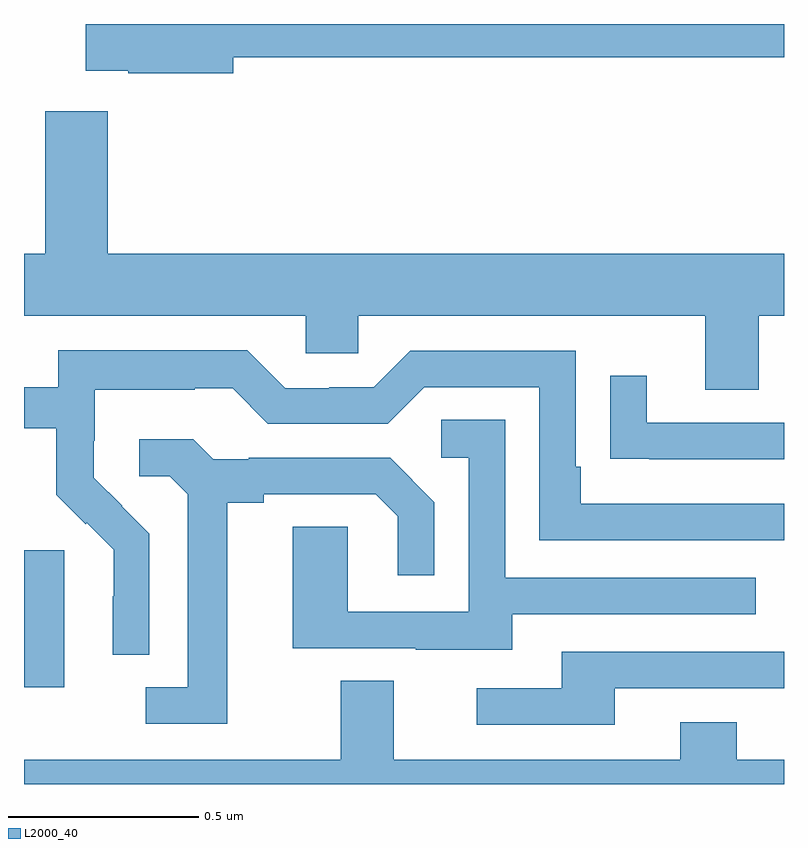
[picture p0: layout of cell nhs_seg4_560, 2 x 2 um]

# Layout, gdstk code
import gdstk
lib = gdstk.Library(unit=1e-6, precision=1e-09)
def R(c, l, rs):  # rectangles x0, y0, x1, y1
    for r in rs: c.add(gdstk.rectangle(r[:2], r[2:], *l))
def P(c, l, *ps):  # polygons
    for p in ps: c.add(gdstk.Polygon(p, *l))
L2000_40 = (2000, 40)

nhs_seg4_560 = lib.new_cell('nhs_seg4_560')
R(nhs_seg4_560, L2000_40, [(117,817.154,117.106,817.515)])
P(nhs_seg4_560, L2000_40, [(117.55,818.812),(119,818.812),(119,818.9),(117.162,818.9),(117.162,818.777),(117.274,818.777),(117.274,818.77),(117.55,818.77)],
  [(118.933,818.132),(119,818.132),(119,818.296),(117.22,818.296),(117.22,818.671),(117.056,818.671),(117.056,818.296),(117,818.296),(117,818.132),(117.741,818.132),(117.741,818.034),(117.879,818.034),(117.879,818.132),(118.793,818.132),(118.793,817.938),(118.933,817.938)],
  [(117.33,817.558),(117.257,817.631),(117.258,817.632),(117.184,817.706),(117.184,817.803),(117.186,817.803),(117.186,817.937),(117.449,817.937),(117.449,817.941),(117.549,817.941),(117.642,817.848),(117.957,817.848),(118.053,817.944),(118.356,817.944),(118.356,817.542),(119,817.542),(119,817.638),(118.465,817.638),(118.465,817.735),(118.452,817.735),(118.452,818.04),(118.017,818.04),(117.921,817.944),(117.803,817.944),(117.803,817.941),(117.687,817.941),(117.587,818.041),(117.09,818.041),(117.09,817.944),(117,817.944),(117,817.836),(117.085,817.836),(117.085,817.661),(117.162,817.584),(117.165,817.587),(117.236,817.517),(117.236,817.394),(117.234,817.394),(117.234,817.24),(117.33,817.24)],
  [(119,817.851),(118.639,817.851),(118.639,817.975),(118.543,817.975),(118.543,817.756),(118.645,817.756),(118.645,817.755),(119,817.755)],
  [(118.285,817.347),(118.925,817.347),(118.925,817.443),(118.266,817.443),(118.266,817.859),(118.098,817.859),(118.098,817.758),(118.17,817.758),(118.17,817.353),(117.852,817.353),(117.852,817.577),(117.707,817.577),(117.707,817.257),(118.031,817.257),(118.031,817.253),(118.285,817.253)],
  [(117.535,817.64),(117.631,817.64),(117.631,817.662),(117.926,817.662),(117.983,817.605),(117.983,817.449),(118.08,817.449),(118.08,817.642),(117.964,817.758),(117.592,817.758),(117.592,817.755),(117.498,817.755),(117.446,817.807),(117.303,817.807),(117.303,817.71),(117.384,817.71),(117.431,817.663),(117.431,817.155),(117.321,817.155),(117.321,817.059),(117.535,817.059)],
  [(118.555,817.152),(119,817.152),(119,817.248),(118.415,817.248),(118.415,817.152),(118.191,817.152),(118.191,817.056),(118.555,817.056)],
  [(119,816.964),(118.875,816.964),(118.875,817.063),(118.727,817.063),(118.727,816.964),(117.973,816.964),(117.973,817.172),(117.833,817.172),(117.833,816.964),(117,816.964),(117,816.9),(119,816.9)])

lib.write_gds('nhs_seg4_560.gds')
